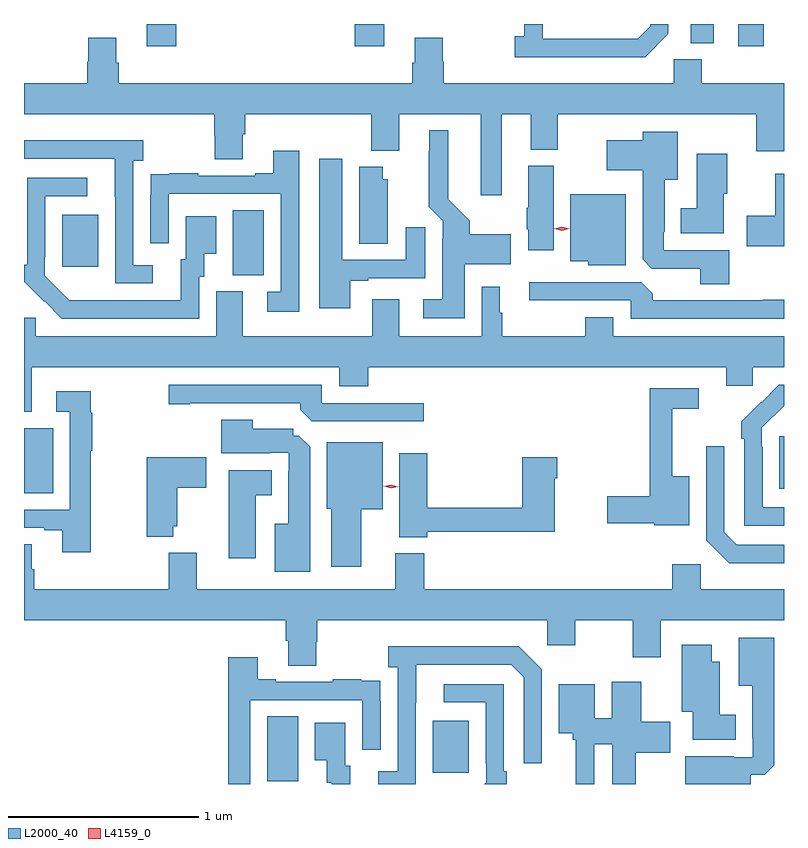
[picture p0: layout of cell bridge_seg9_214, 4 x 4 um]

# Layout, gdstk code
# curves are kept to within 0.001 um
import gdstk
lib = gdstk.Library(unit=1e-6, precision=1e-09)
def R(c, l, rs):  # rectangles x0, y0, x1, y1
    for r in rs: c.add(gdstk.rectangle(r[:2], r[2:], *l))
def P(c, l, *ps):  # polygons
    for p in ps: c.add(gdstk.Polygon(p, *l))
L2000_40 = (2000, 40)
L4159_0 = (4159, 0)

bridge_seg9_214 = lib.new_cell('bridge_seg9_214')
R(bridge_seg9_214, L2000_40, [(155.108,1214.221,155.272,1214.564), (155.981,1214.265,156.169,1214.539), (153.829,1215.736,153.982,1216.08), (157.805,1215.761,157.829,1216.036), (154.928,1216.885,155.092,1217.228), (154.031,1216.929,154.219,1217.203), (154.475,1218.09,154.631,1218.207), (155.569,1218.09,155.725,1218.207), (157.587,1218.09,157.723,1218.207), (157.337,1218.107,157.459,1218.207)])
P(bridge_seg9_214, L2000_40, [(157.221,1218.155),(157.221,1218.207),(157.125,1218.207),(157.125,1218.195),(157.059,1218.129),(156.559,1218.129),(156.559,1218.207),(156.462,1218.207),(156.462,1218.142),(156.411,1218.142),(156.411,1218.032),(157.098,1218.032)],
  [(154.829,1217.619),(154.834,1217.619),(154.834,1217.494),(154.981,1217.494),(154.981,1217.626),(154.994,1217.626),(154.994,1217.732),(155.656,1217.732),(155.656,1217.54),(155.803,1217.54),(155.803,1217.732),(156.233,1217.732),(156.233,1217.307),(156.343,1217.307),(156.343,1217.732),(156.497,1217.732),(156.497,1217.545),(156.637,1217.545),(156.637,1217.732),(157.682,1217.732),(157.682,1217.538),(157.829,1217.538),(157.829,1217.896),(157.395,1217.896),(157.395,1218.022),(157.248,1218.022),(157.248,1217.896),(156.038,1217.896),(156.038,1218.009),(156.033,1218.009),(156.033,1218.134),(155.885,1218.134),(155.885,1218.002),(155.873,1218.002),(155.873,1217.896),(154.328,1217.896),(154.328,1218.002),(154.315,1218.002),(154.315,1218.134),(154.168,1218.134),(154.168,1218.009),(154.163,1218.009),(154.163,1217.896),(153.829,1217.896),(153.829,1217.732),(154.829,1217.732)],
  [(156.148,1216.943),(156.391,1216.943),(156.391,1217.101),(156.174,1217.101),(156.174,1217.171),(156.061,1217.284),(156.061,1217.647),(155.963,1217.647),(155.963,1217.537),(155.959,1217.537),(155.959,1217.246),(156.033,1217.172),(156.033,1217.078),(156.029,1217.078),(156.029,1216.759),(155.931,1216.759),(155.931,1216.658),(156.148,1216.658)],
  [(157.541,1217.016),(157.197,1217.016),(157.197,1217.113),(157.201,1217.113),(157.201,1217.387),(157.27,1217.387),(157.27,1217.641),(157.085,1217.641),(157.085,1217.596),(156.897,1217.596),(156.897,1217.438),(157.085,1217.438),(157.085,1216.969),(157.134,1216.92),(157.388,1216.92),(157.388,1216.837),(157.541,1216.837)],
  [(154.507,1216.938),(154.404,1216.938),(154.404,1217.486),(154.456,1217.486),(154.456,1217.596),(153.829,1217.596),(153.829,1217.499),(154.307,1217.499),(154.307,1217.299),(154.308,1217.299),(154.308,1216.842),(154.507,1216.842)],
  [(155.277,1217.539),(155.141,1217.539),(155.141,1217.422),(155.045,1217.422),(155.045,1217.409),(154.745,1217.409),(154.745,1217.422),(154.597,1217.422),(154.597,1217.415),(154.495,1217.415),(154.495,1217.306),(154.494,1217.306),(154.494,1217.052),(154.59,1217.052),(154.59,1217.313),(155.181,1217.313),(155.181,1216.797),(155.109,1216.797),(155.109,1216.692),(155.277,1216.692)],
  [(157.513,1217.313),(157.531,1217.313),(157.531,1217.524),(157.37,1217.524),(157.37,1217.236),(157.286,1217.236),(157.286,1217.105),(157.513,1217.105)],
  [(155.545,1216.857),(155.641,1216.857),(155.641,1216.869),(155.941,1216.869),(155.941,1217.137),(155.837,1217.137),(155.837,1216.965),(155.503,1216.965),(155.503,1217.497),(155.384,1217.497),(155.384,1216.71),(155.545,1216.71)],
  [(156.616,1217.46),(156.482,1217.46),(156.482,1217.241),(156.475,1217.241),(156.475,1217.128),(156.482,1217.128),(156.482,1217.016),(156.616,1217.016)],
  [(155.743,1217.391),(155.716,1217.391),(155.716,1217.455),(155.594,1217.455),(155.594,1217.05),(155.743,1217.05)],
  [(157.829,1217.419),(157.784,1217.419),(157.784,1217.199),(157.632,1217.199),(157.632,1217.036),(157.829,1217.036)],
  [(154.752,1216.878),(154.777,1216.878),(154.777,1216.997),(154.84,1216.997),(154.84,1217.194),(154.679,1217.194),(154.679,1216.968),(154.655,1216.968),(154.655,1216.752),(154.068,1216.753),(153.939,1216.881),(153.939,1216.981),(153.942,1216.981),(153.942,1217.301),(154.162,1217.301),(154.162,1217.397),(153.846,1217.397),(153.846,1216.939),(153.831,1216.939),(153.831,1216.851),(154.028,1216.656),(154.752,1216.656)],
  [(156.997,1217.311),(156.704,1217.311),(156.704,1216.958),(156.798,1216.958),(156.798,1216.937),(156.997,1216.937)],
  [(157.829,1216.757),(157.718,1216.757),(157.718,1216.752),(157.139,1216.752),(157.139,1216.786),(157.077,1216.848),(156.489,1216.848),(156.489,1216.752),(157.023,1216.752),(157.023,1216.656),(157.829,1216.656)],
  [(153.871,1216.4),(155.489,1216.4),(155.489,1216.301),(155.642,1216.301),(155.642,1216.4),(157.526,1216.4),(157.526,1216.302),(157.665,1216.302),(157.665,1216.4),(157.829,1216.4),(157.829,1216.564),(156.931,1216.564),(156.931,1216.663),(156.784,1216.663),(156.784,1216.564),(156.346,1216.564),(156.346,1216.686),(156.334,1216.686),(156.334,1216.825),(156.237,1216.825),(156.237,1216.564),(155.803,1216.564),(155.803,1216.759),(155.663,1216.759),(155.663,1216.564),(154.981,1216.564),(154.981,1216.8),(154.841,1216.8),(154.841,1216.564),(153.891,1216.564),(153.891,1216.662),(153.829,1216.662),(153.829,1216.165),(153.871,1216.165)],
  [(157.829,1215.663),(157.716,1215.663),(157.716,1215.983),(157.713,1215.983),(157.713,1216.083),(157.829,1216.199),(157.829,1216.308),(157.802,1216.308),(157.605,1216.113),(157.605,1216.025),(157.62,1216.025),(157.62,1215.567),(157.829,1215.567)],
  [(155.932,1216.212),(155.397,1216.212),(155.397,1216.308),(154.59,1216.308),(154.59,1216.207),(154.702,1216.207),(154.702,1216.212),(155.282,1216.212),(155.282,1216.178),(155.343,1216.116),(155.932,1216.116)],
  [(157.33,1215.826),(157.241,1215.826),(157.241,1216.182),(157.381,1216.182),(157.381,1216.29),(157.123,1216.29),(157.123,1215.722),(156.9,1215.722),(156.9,1215.58),(157.146,1215.58),(157.146,1215.569),(157.33,1215.569)],
  [(154.18,1215.96),(154.187,1215.96),(154.187,1216.16),(154.18,1216.16),(154.18,1216.273),(153.999,1216.273),(153.999,1216.167),(154.071,1216.167),(154.071,1215.651),(153.829,1215.651),(153.829,1215.555),(153.935,1215.555),(153.935,1215.543),(154.031,1215.543),(154.031,1215.426),(154.18,1215.426)],
  [(155.335,1215.981),(155.275,1216.041),(155.247,1216.041),(155.247,1216.078),(155.032,1216.078),(155.032,1216.123),(154.868,1216.123),(154.868,1215.947),(155.123,1215.947),(155.123,1215.951),(155.223,1215.951),(155.223,1215.851),(155.219,1215.851),(155.219,1215.577),(155.15,1215.577),(155.15,1215.323),(155.335,1215.323)],
  [(155.605,1215.653),(155.716,1215.653),(155.716,1216.006),(155.423,1216.006),(155.423,1215.657),(155.447,1215.657),(155.447,1215.351),(155.605,1215.351)],
  [(157.829,1215.465),(157.581,1215.465),(157.515,1215.531),(157.515,1215.985),(157.419,1215.985),(157.419,1215.489),(157.54,1215.368),(157.829,1215.368)],
  [(155.951,1215.534),(156.622,1215.534),(156.622,1215.815),(156.635,1215.815),(156.635,1215.928),(156.452,1215.928),(156.452,1215.662),(155.951,1215.662),(155.951,1215.949),(155.804,1215.949),(155.804,1215.506),(155.951,1215.506)],
  [(154.614,1215.563),(154.636,1215.563),(154.636,1215.766),(154.789,1215.766),(154.789,1215.928),(154.474,1215.928),(154.474,1215.509),(154.614,1215.509)],
  [(155.05,1215.728),(155.134,1215.728),(155.134,1215.859),(154.907,1215.859),(154.907,1215.396),(155.05,1215.396)],
  [(155.367,1214.955),(155.372,1214.955),(155.372,1215.068),(156.582,1215.068),(156.582,1214.937),(156.729,1214.937),(156.729,1215.068),(157.033,1215.068),(157.033,1214.874),(157.18,1214.874),(157.18,1215.068),(157.829,1215.068),(157.829,1215.232),(157.392,1215.232),(157.392,1215.364),(157.241,1215.364),(157.241,1215.232),(155.936,1215.232),(155.936,1215.421),(155.783,1215.421),(155.783,1215.232),(154.738,1215.232),(154.738,1215.424),(154.591,1215.424),(154.591,1215.232),(153.884,1215.232),(153.884,1215.338),(153.871,1215.338),(153.871,1215.47),(153.829,1215.47),(153.829,1215.068),(155.207,1215.068),(155.207,1214.962),(155.219,1214.962),(155.219,1214.83),(155.367,1214.83)],
  [(157.654,1214.256),(157.728,1214.256),(157.777,1214.305),(157.777,1214.977),(157.592,1214.977),(157.592,1214.723),(157.661,1214.723),(157.661,1214.449),(157.665,1214.449),(157.665,1214.349),(157.565,1214.349),(157.565,1214.353),(157.31,1214.353),(157.31,1214.207),(157.654,1214.207)],
  [(157.576,1214.572),(157.492,1214.572),(157.492,1214.851),(157.45,1214.851),(157.45,1214.941),(157.292,1214.941),(157.292,1214.588),(157.349,1214.588),(157.349,1214.441),(157.576,1214.441)],
  [(155.892,1214.635),(155.893,1214.835),(156.393,1214.835),(156.459,1214.769),(156.459,1214.316),(156.555,1214.316),(156.555,1214.811),(156.434,1214.932),(155.745,1214.932),(155.745,1214.822),(155.796,1214.822),(155.796,1214.274),(155.694,1214.274),(155.694,1214.207),(155.892,1214.207)],
  [(155.019,1214.649),(155.61,1214.649),(155.61,1214.388),(155.706,1214.388),(155.706,1214.642),(155.705,1214.642),(155.705,1214.751),(155.603,1214.751),(155.603,1214.758),(155.455,1214.758),(155.455,1214.745),(155.155,1214.745),(155.155,1214.758),(155.059,1214.758),(155.059,1214.875),(154.903,1214.875),(154.903,1214.207),(155.019,1214.207)],
  [(156.831,1214.416),(156.926,1214.416),(156.926,1214.207),(157.048,1214.207),(157.048,1214.372),(157.231,1214.372),(157.231,1214.535),(157.078,1214.535),(157.078,1214.746),(156.923,1214.746),(156.923,1214.552),(156.832,1214.552),(156.832,1214.731),(156.644,1214.731),(156.644,1214.474),(156.716,1214.474),(156.716,1214.439),(156.734,1214.439),(156.734,1214.207),(156.831,1214.207)],
  [(156.369,1214.275),(156.354,1214.275),(156.354,1214.733),(156.039,1214.733),(156.039,1214.637),(156.258,1214.637),(156.258,1214.317),(156.261,1214.317),(156.261,1214.217),(156.251,1214.207),(156.369,1214.207)],
  [(155.545,1214.304),(155.521,1214.304),(155.521,1214.53),(155.36,1214.53),(155.36,1214.333),(155.423,1214.333),(155.423,1214.214),(155.448,1214.214),(155.448,1214.207),(155.545,1214.207)])
P(bridge_seg9_214, L4159_0, [(156.658,1217.12),(156.619,1217.13),(156.619,1217.13),(156.619,1217.13),(156.658,1217.14),(156.698,1217.13),(156.698,1217.13),(156.698,1217.13)],
  [(155.761,1215.763),(155.723,1215.774),(155.722,1215.775),(155.723,1215.775),(155.762,1215.783),(155.8,1215.772),(155.8,1215.772),(155.8,1215.772)])

lib.write_gds('bridge_seg9_214.gds')
